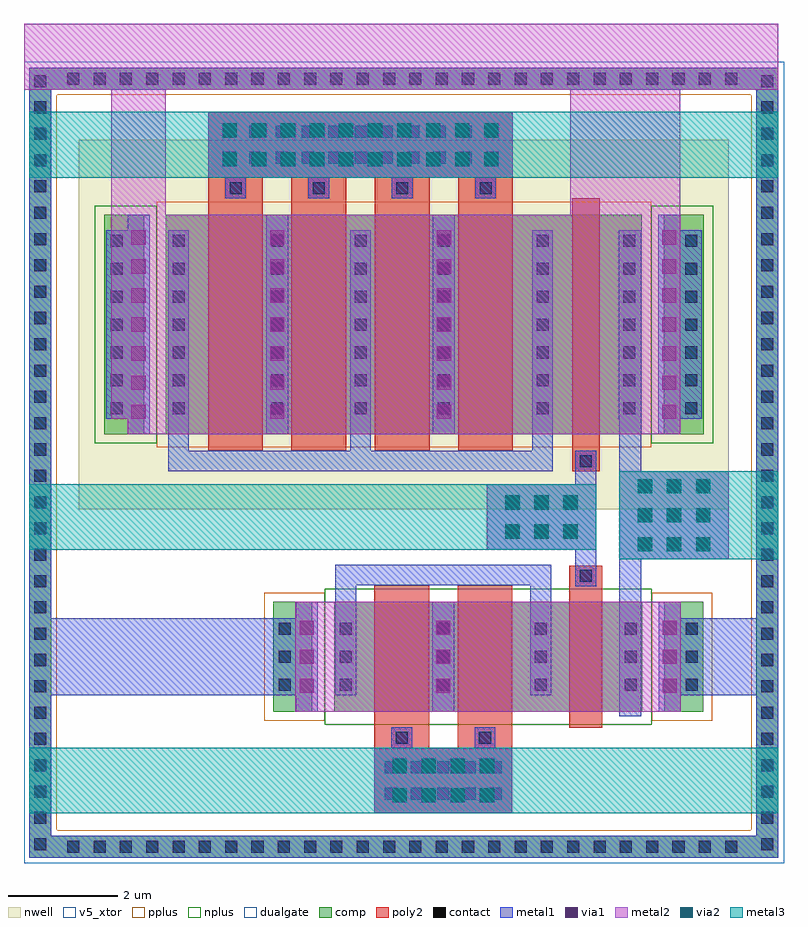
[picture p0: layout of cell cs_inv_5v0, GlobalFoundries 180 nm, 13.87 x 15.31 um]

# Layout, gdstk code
from math import pi, radians
import gdstk
lib = gdstk.Library(unit=1e-6, precision=1e-09)
def R(c, l, rs):  # rectangles x0, y0, x1, y1
    for r in rs: c.add(gdstk.rectangle(r[:2], r[2:], *l))
def A(c, l, x, y, w, h, nx, ny, dx, dy):  # array of equal rectangles
    R(c, l, [(x+i*dx, y+j*dy, x+i*dx+w, y+j*dy+h) for i in range(nx) for j in range(ny)])
nwell = (21, 0)
comp = (22, 0)
poly2 = (30, 0)
pplus = (31, 0)
nplus = (32, 0)
contact = (33, 0)
metal1 = (34, 0)
via1 = (35, 0)
metal2 = (36, 0)
via2 = (38, 0)
metal3 = (42, 0)
dualgate = (55, 0)
v5_xtor = (112, 1)

pfet_3_5 = lib.new_cell('pfet$3$5')
R(pfet_3_5, nwell, [(-1.24,-1.29,2.36,4.91)])
R(pfet_3_5, comp, [(-0.46,0,1.58,4)])
R(pfet_3_5, poly2, [(0.31,-0.68,0.81,4.3)])
R(pfet_3_5, pplus, [(-0.63,-0.24,1.75,4.24)])
A(pfet_3_5, contact, -0.34, 0.36, 0.22, 0.22, 1, 7, 0, 0.51)
A(pfet_3_5, contact, 1.24, 0.36, 0.22, 0.22, 1, 7, 0, 0.51)
R(pfet_3_5, contact, [(0.45,-0.6,0.67,-0.38)])
R(pfet_3_5, metal1, [(0.37,-0.68,0.75,-0.3), (-0.42,0.28,-0.04,3.72), (1.16,0.28,1.54,3.72)])
R(pfet_3_5, dualgate, [(-1.74,-1.79,2.86,5.41)])
R(pfet_3_5, v5_xtor, [(-1.74,-1.79,2.86,5.41)])

pfet_2_2 = lib.new_cell('pfet$2$2')
R(pfet_2_2, nwell, [(-1.24,-0.91,7.42,5.29)])
R(pfet_2_2, comp, [(-0.46,0,6.64,4)])
A(pfet_2_2, poly2, 0.31, -0.3, 1, 4.98, 4, 1, 1.52, 0)
R(pfet_2_2, pplus, [(-0.63,-0.24,6.81,4.24)])
A(pfet_2_2, contact, -0.34, 0.36, 0.22, 0.22, 1, 7, 0, 0.51)
A(pfet_2_2, contact, 1.46, 0.36, 0.22, 0.22, 3, 7, 1.52, 0.51)
A(pfet_2_2, contact, 6.3, 0.36, 0.22, 0.22, 1, 7, 0, 0.51)
A(pfet_2_2, contact, 0.7, 4.38, 0.22, 0.22, 4, 1, 1.52, 0)
A(pfet_2_2, metal1, 1.38, 0.28, 0.38, 3.44, 3, 1, 1.52, 0)
A(pfet_2_2, metal1, 0.62, 4.3, 0.38, 0.38, 4, 1, 1.52, 0)
R(pfet_2_2, metal1, [(-0.42,0.28,-0.04,3.72), (6.22,0.28,6.6,3.72)])
R(pfet_2_2, dualgate, [(-1.74,-1.41,7.92,5.79)])
R(pfet_2_2, v5_xtor, [(-1.74,-1.41,7.92,5.79)])

nfet_3_4 = lib.new_cell('nfet$3$4')
R(nfet_3_4, comp, [(-0.42,0,1.64,2)])
R(nfet_3_4, poly2, [(0.31,-0.3,0.91,2.66)])
R(nfet_3_4, nplus, [(-0.59,-0.24,1.81,2.24)])
A(nfet_3_4, contact, -0.32, 0.38, 0.22, 0.22, 1, 3, 0, 0.51)
A(nfet_3_4, contact, 1.32, 0.38, 0.22, 0.22, 1, 3, 0, 0.51)
R(nfet_3_4, contact, [(0.5,2.37,0.72,2.59)])
R(nfet_3_4, metal1, [(-0.4,0.3,-0.02,1.7), (1.24,0.3,1.62,1.7), (0.42,2.29,0.8,2.67)])
R(nfet_3_4, dualgate, [(-0.84,-0.71,2.06,3.08)])
R(nfet_3_4, v5_xtor, [(-0.84,-0.71,2.06,3.08)])

nfet_2_2 = lib.new_cell('nfet$2$2')
R(nfet_2_2, comp, [(-0.42,0,3.56,2)])
R(nfet_2_2, poly2, [(0.31,-0.66,1.31,2.3), (1.83,-0.66,2.83,2.3)])
R(nfet_2_2, nplus, [(-0.59,-0.24,3.73,2.24)])
A(nfet_2_2, contact, -0.32, 0.38, 0.22, 0.22, 3, 3, 1.78, 0.51)
R(nfet_2_2, contact, [(0.7,-0.59,0.92,-0.37), (2.22,-0.59,2.44,-0.37)])
A(nfet_2_2, metal1, -0.4, 0.3, 0.38, 1.4, 3, 1, 1.78, 0)
R(nfet_2_2, metal1, [(0.62,-0.67,1,-0.29), (2.14,-0.67,2.52,-0.29)])
R(nfet_2_2, dualgate, [(-0.84,-1.08,3.98,2.71)])
R(nfet_2_2, v5_xtor, [(-0.84,-1.08,3.98,2.71)])

via_dev_26 = lib.new_cell('via_dev$26')
R(via_dev_26, metal1, [(0,0,0.4,4)])
A(via_dev_26, via1, 0.07, 0.28, 0.26, 0.26, 1, 7, 0, 0.53)
R(via_dev_26, metal2, [(0,0,0.4,4)])

via_dev_3_2 = lib.new_cell('via_dev$3$2')
R(via_dev_3_2, metal1, [(0,0,2,1.2)])
A(via_dev_3_2, via1, 0.34, 0.205, 0.26, 0.26, 3, 2, 0.53, 0.53)
R(via_dev_3_2, metal2, [(0,0,2,1.2)])
A(via_dev_3_2, via2, 0.34, 0.205, 0.26, 0.26, 3, 2, 0.53, 0.53)
R(via_dev_3_2, metal3, [(0,0,2,1.2)])

via_dev_1_2 = lib.new_cell('via_dev$1$2')
R(via_dev_1_2, poly2, [(0,0,5.56,1.2)])
A(via_dev_1_2, contact, 0.27, 0.25, 0.22, 0.22, 11, 2, 0.48, 0.48)
R(via_dev_1_2, metal1, [(0,0,5.56,1.2)])
A(via_dev_1_2, via1, 0.265, 0.205, 0.26, 0.26, 10, 2, 0.53, 0.53)
R(via_dev_1_2, metal2, [(0,0,5.56,1.2)])
A(via_dev_1_2, via2, 0.265, 0.205, 0.26, 0.26, 10, 2, 0.53, 0.53)
R(via_dev_1_2, metal3, [(0,0,5.56,1.2)])

via_dev_5_7 = lib.new_cell('via_dev$5$7')
R(via_dev_5_7, metal1, [(0,0,0.4,2)])
A(via_dev_5_7, via1, 0.07, 0.34, 0.26, 0.26, 1, 3, 0, 0.53)
R(via_dev_5_7, metal2, [(0,0,0.4,2)])

via_dev_6_3 = lib.new_cell('via_dev$6$3')
R(via_dev_6_3, poly2, [(0,0,2.52,1.2)])
A(via_dev_6_3, contact, 0.19, 0.25, 0.22, 0.22, 5, 2, 0.48, 0.48)
R(via_dev_6_3, metal1, [(0,0,2.52,1.2)])
A(via_dev_6_3, via1, 0.335, 0.205, 0.26, 0.26, 4, 2, 0.53, 0.53)
R(via_dev_6_3, metal2, [(0,0,2.52,1.2)])
A(via_dev_6_3, via2, 0.335, 0.205, 0.26, 0.26, 4, 2, 0.53, 0.53)
R(via_dev_6_3, metal3, [(0,0,2.52,1.2)])

via_dev_12_7 = lib.new_cell('via_dev$12$7')
R(via_dev_12_7, comp, [(0,0,0.4,14.41)])
A(via_dev_12_7, contact, 0.09, 0.135, 0.22, 0.22, 1, 30, 0, 0.48)
R(via_dev_12_7, metal1, [(0,0,0.4,14.41)])

via_dev_13_4 = lib.new_cell('via_dev$13$4')
R(via_dev_13_4, metal1, [(0,0,2,1.6)])
A(via_dev_13_4, via1, 0.34, 0.14, 0.26, 0.26, 3, 3, 0.53, 0.53)
R(via_dev_13_4, metal2, [(0,0,2,1.6)])
A(via_dev_13_4, via2, 0.34, 0.14, 0.26, 0.26, 3, 3, 0.53, 0.53)
R(via_dev_13_4, metal3, [(0,0,2,1.6)])

via_dev_15_2 = lib.new_cell('via_dev$15$2')
R(via_dev_15_2, comp, [(0,0,12.6,0.4)])
A(via_dev_15_2, contact, 0.19, 0.09, 0.22, 0.22, 26, 1, 0.48, 0)
R(via_dev_15_2, metal1, [(0,0,12.6,0.4)])

cs_inv_5v0 = lib.new_cell('cs_inv_5v0')
R(cs_inv_5v0, nwell, [(0.11,4.465,11.97,11.205)])
R(cs_inv_5v0, comp, [(-0.39,-1.89,-0.29,-1.49), (12.31,-1.89,12.47,-1.49), (3.66,0.775,4.37,2.775), (10.79,0.775,11.5,2.775), (0.57,5.835,1.3,9.835), (10.78,5.835,11.51,9.835), (-0.39,12.12,-0.29,12.52), (12.31,12.12,12.47,12.52)])
R(cs_inv_5v0, pplus, [(3.49,0.605,4.6,2.945), (10.56,0.605,11.67,2.945)])
R(cs_inv_5v0, nplus, [(0.4,5.665,1.53,10.005), (10.55,5.665,11.68,10.005)])
A(cs_inv_5v0, contact, 3.76, 1.155, 0.22, 0.22, 1, 3, 0, 0.51)
A(cs_inv_5v0, contact, 11.18, 1.155, 0.22, 0.22, 1, 3, 0, 0.51)
A(cs_inv_5v0, contact, 0.69, 6.195, 0.22, 0.22, 1, 7, 0, 0.51)
A(cs_inv_5v0, contact, 11.17, 6.195, 0.22, 0.22, 1, 7, 0, 0.51)
R(cs_inv_5v0, metal1, [(-0.39,-1.89,-0.29,-1.49), (12.31,-1.89,12.47,-1.49), (-0.605,1.075,4.46,2.475), (10.7,1.075,11.08,2.475), (11.08,1.075,12.49,2.475), (0.61,6.115,1.39,9.555), (10.69,6.115,11.47,9.555), (-0.39,12.12,-0.29,12.52), (12.31,12.12,12.47,12.52)])
R(cs_inv_5v0, metal2, [(4.06,0.775,11.09,2.775), (1,5.835,11.08,9.835)])
R(cs_inv_5v0, metal3, [(-0.79,-1.085,12.87,0.115), (11.97,3.555,12.87,5.155), (-0.79,3.725,7.55,4.925), (-0.79,10.515,12.87,11.715)])
R(cs_inv_5v0, dualgate, [(-0.89,-1.99,12.975,12.625)])
R(cs_inv_5v0, v5_xtor, [(-0.89,-1.99,12.975,12.625)])
cs_inv_5v0.add(gdstk.FlexPath([(9.36,5.36),(9.36,3.065)], 0.38, ends="flush", simple_path=True, layer=34, datatype=0))  # metal1
cs_inv_5v0.add(gdstk.FlexPath([(10.17,9.555),(10.17,0.685)], 0.4, ends="flush", simple_path=True, layer=34, datatype=0))  # metal1
cs_inv_5v0.add(gdstk.FlexPath([(5.25,6.295),(5.25,5.345),(8.57,5.345),(8.57,6.595)], 0.38, ends="flush", simple_path=True, layer=34, datatype=0))  # metal1
cs_inv_5v0.add(gdstk.FlexPath([(5.25,6.295),(5.25,5.345),(1.93,5.345),(1.93,6.44)], 0.38, ends="flush", simple_path=True, layer=34, datatype=0))  # metal1
cs_inv_5v0.add(gdstk.FlexPath([(8.54,2.3),(8.54,3.265),(4.98,3.265),(4.98,2.18)], 0.38, ends="flush", simple_path=True, layer=34, datatype=0))  # metal1
cs_inv_5v0.add(gdstk.FlexPath([(-0.89,12.72),(12.87,12.72)], 1.2, ends="flush", simple_path=True, layer=36, datatype=0))  # metal2
cs_inv_5v0.add(gdstk.FlexPath([(1.2,6.115),(1.2,12.52)], 1, ends="flush", simple_path=True, layer=36, datatype=0))  # metal2
cs_inv_5v0.add(gdstk.FlexPath([(10.08,8.04),(10.08,12.52)], 2, ends="flush", simple_path=True, layer=36, datatype=0))  # metal2
cs_inv_5v0.add(gdstk.FlexPath([(-0.59,12.52),(-0.59,-1.69),(12.675,-1.69),(12.675,12.325),(-0.89,12.325)], 0.6, ends="flush", simple_path=True, layer=31, datatype=0))  # pplus
cs_inv_5v0.add(gdstk.Reference(pfet_3_5, (8.8,5.835)))
cs_inv_5v0.add(gdstk.Reference(pfet_2_2, (8.34,5.835), rotation=pi, x_reflection=True))
cs_inv_5v0.add(gdstk.Reference(nfet_3_4, (8.75,0.775)))
cs_inv_5v0.add(gdstk.Reference(nfet_2_2, (8.33,0.775), rotation=pi, x_reflection=True))
cs_inv_5v0.add(gdstk.Reference(via_dev_26, (6.57,5.835)))
cs_inv_5v0.add(gdstk.Reference(via_dev_26, (10.68,5.835)))
cs_inv_5v0.add(gdstk.Reference(via_dev_26, (1,5.835)))
cs_inv_5v0.add(gdstk.Reference(via_dev_26, (3.53,5.835)))
cs_inv_5v0.add(gdstk.Reference(via_dev_3_2, (7.55,3.725)))
cs_inv_5v0.add(gdstk.Reference(via_dev_1_2, (2.47,10.515)))
cs_inv_5v0.add(gdstk.Reference(via_dev_5_7, (6.56,0.775)))
cs_inv_5v0.add(gdstk.Reference(via_dev_5_7, (10.69,0.775)))
cs_inv_5v0.add(gdstk.Reference(via_dev_5_7, (4.07,0.775)))
cs_inv_5v0.add(gdstk.Reference(via_dev_6_3, (5.5,-1.085)))
cs_inv_5v0.add(gdstk.Reference(via_dev_12_7, (-0.79,-1.89)))
cs_inv_5v0.add(gdstk.Reference(via_dev_12_7, (12.47,-1.89)))
cs_inv_5v0.add(gdstk.Reference(via_dev_13_4, (9.97,3.555)))
cs_inv_5v0.add(gdstk.Reference(via_dev_15_2, (-0.29,12.12)))
cs_inv_5v0.add(gdstk.Reference(via_dev_15_2, (-0.29,-1.89)))

lib.write_gds('cs_inv_5v0.gds')
